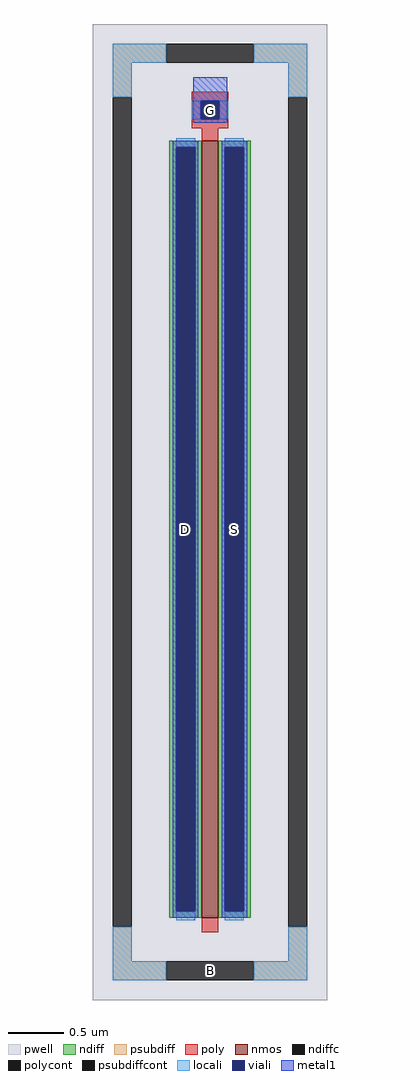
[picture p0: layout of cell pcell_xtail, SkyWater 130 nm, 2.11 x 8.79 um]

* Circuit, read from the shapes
.subckt pcell_xtail B D S G
XM1 S G D B sky130_fd_pr__nfet_01v8 w=7 l=0.15
.ends

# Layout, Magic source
magic
tech sky130A
magscale 1 2
<< pwell >>
rect -211 -879 211 879
<< nmos >>
rect -15 -731 15 669
<< ndiff >>
rect -73 657 -15 669
rect -73 -719 -61 657
rect -27 -719 -15 657
rect -73 -731 -15 -719
rect 15 657 73 669
rect 15 -719 27 657
rect 61 -719 73 657
rect 15 -731 73 -719
<< ndiffc >>
rect -61 -719 -27 657
rect 27 -719 61 657
<< psubdiff >>
rect -175 809 -79 843
rect 79 809 175 843
rect -175 747 -141 809
rect 141 747 175 809
rect -175 -809 -141 -747
rect 141 -809 175 -747
rect -175 -843 -79 -809
rect 79 -843 175 -809
<< psubdiffcont >>
rect -79 809 79 843
rect -175 -747 -141 747
rect 141 -747 175 747
rect -79 -843 79 -809
<< poly >>
rect -33 741 33 757
rect -33 707 -17 741
rect 17 707 33 741
rect -33 691 33 707
rect -15 669 15 691
rect -15 -757 15 -731
<< polycont >>
rect -17 707 17 741
<< locali >>
rect -175 809 -79 843
rect 79 809 175 843
rect -175 747 -141 809
rect 141 747 175 809
rect -33 707 -17 741
rect 17 707 33 741
rect -61 657 -27 673
rect -61 -735 -27 -719
rect 27 657 61 673
rect 27 -735 61 -719
rect -175 -809 -141 -747
rect 141 -809 175 -747
rect -175 -843 -79 -809
rect 79 -843 175 -809
<< viali >>
rect -17 707 17 741
rect -61 -719 -27 657
rect 27 -719 61 657
<< metal1 >>
rect -30 741 31 783
rect -30 707 -17 741
rect 17 707 31 741
rect -30 702 31 707
rect -29 701 29 702
rect -67 657 -21 669
rect -67 -719 -61 657
rect -27 -719 -21 657
rect -67 -731 -21 -719
rect 21 657 67 669
rect 21 -719 27 657
rect 61 -719 67 657
rect 21 -731 67 -719
<< labels >>
rlabel psubdiffcont 0 -826 0 -826 0 B
port 1 nsew
rlabel ndiffc -44 -31 -44 -31 0 D
port 2 nsew
rlabel ndiffc 44 -31 44 -31 0 S
port 3 nsew
rlabel polycont 0 724 0 724 0 G
port 4 nsew
<< end >>
